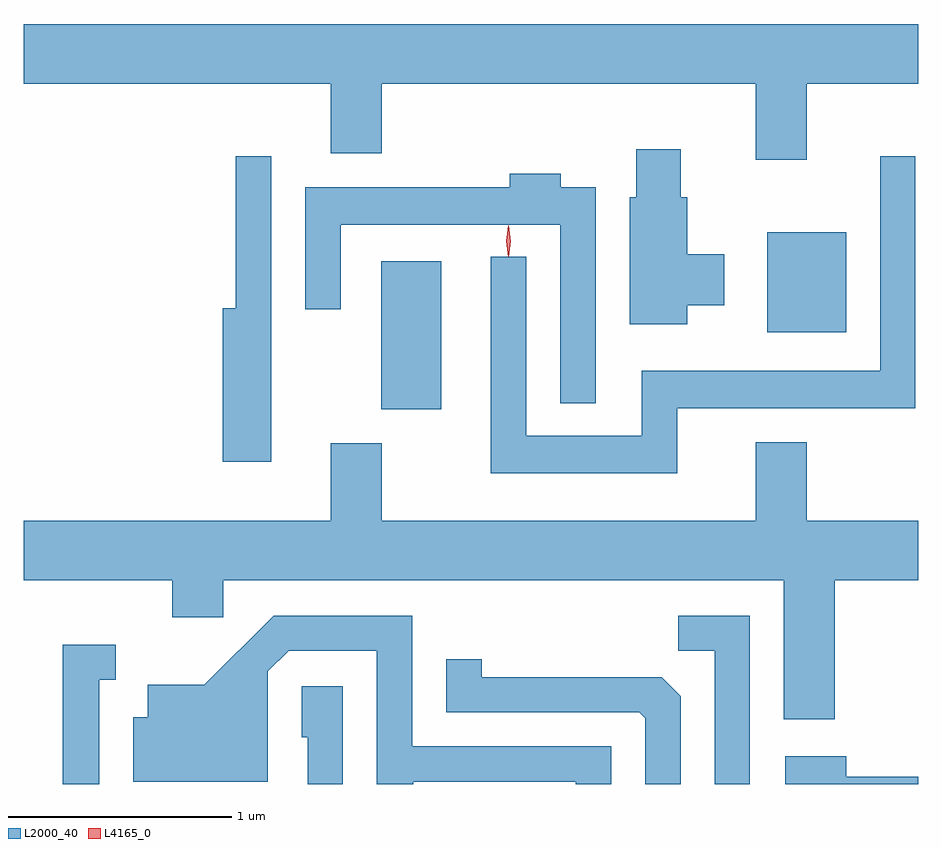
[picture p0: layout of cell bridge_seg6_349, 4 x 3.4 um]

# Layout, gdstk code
import gdstk
lib = gdstk.Library(unit=1e-6, precision=1e-09)
def R(c, l, rs):  # rectangles x0, y0, x1, y1
    for r in rs: c.add(gdstk.rectangle(r[:2], r[2:], *l))
def P(c, l, *ps):  # polygons
    for p in ps: c.add(gdstk.Polygon(p, *l))
L2000_40 = (2000, 40)
L4165_0 = (4165, 0)

bridge_seg6_349 = lib.new_cell('bridge_seg6_349')
R(bridge_seg6_349, L2000_40, [(1330.816,1537.481,1331.084,1538.144), (1332.541,1537.826,1332.894,1538.274)])
P(bridge_seg6_349, L2000_40, [(1332.719,1538.936),(1333.217,1538.936),(1333.217,1539.204),(1329.217,1539.204),(1329.217,1538.936),(1330.591,1538.936),(1330.591,1538.626),(1330.819,1538.626),(1330.819,1538.936),(1332.491,1538.936),(1332.491,1538.596),(1332.719,1538.596)],
  [(1332.184,1537.946),(1332.349,1537.946),(1332.349,1538.174),(1332.184,1538.174),(1332.184,1538.429),(1332.154,1538.429),(1332.154,1538.644),(1331.956,1538.644),(1331.956,1538.429),(1331.926,1538.429),(1331.926,1537.861),(1332.184,1537.861)],
  [(1330.324,1538.613),(1330.166,1538.613),(1330.166,1537.934),(1330.106,1537.934),(1330.106,1537.246),(1330.324,1537.246)],
  [(1332.139,1537.486),(1333.204,1537.486),(1333.204,1538.613),(1333.046,1538.613),(1333.046,1537.654),(1331.981,1537.654),(1331.981,1537.364),(1331.464,1537.364),(1331.464,1538.163),(1331.306,1538.163),(1331.306,1537.196),(1332.139,1537.196)],
  [(1331.774,1538.474),(1331.619,1538.474),(1331.619,1538.534),(1331.391,1538.534),(1331.391,1538.474),(1330.476,1538.474),(1330.476,1537.928),(1330.634,1537.928),(1330.634,1538.306),(1331.616,1538.306),(1331.616,1537.508),(1331.774,1537.508)],
  [(1332.844,1536.716),(1333.217,1536.716),(1333.217,1536.984),(1332.719,1536.984),(1332.719,1537.334),(1332.491,1537.334),(1332.491,1536.984),(1330.819,1536.984),(1330.819,1537.329),(1330.591,1537.329),(1330.591,1536.984),(1329.217,1536.984),(1329.217,1536.716),(1329.881,1536.716),(1329.881,1536.551),(1330.109,1536.551),(1330.109,1536.716),(1332.616,1536.716),(1332.616,1536.096),(1332.844,1536.096)],
  [(1332.464,1536.559),(1332.143,1536.559),(1332.143,1536.401),(1332.306,1536.401),(1332.306,1535.806),(1332.464,1535.806)],
  [(1330.959,1535.816),(1331.686,1535.816),(1331.686,1535.806),(1331.844,1535.806),(1331.844,1535.974),(1330.954,1535.974),(1330.954,1536.559),(1330.334,1536.559),(1330.024,1536.249),(1329.771,1536.249),(1329.771,1536.104),(1329.706,1536.104),(1329.706,1535.816),(1330.309,1535.816),(1330.309,1536.309),(1330.402,1536.401),(1330.796,1536.401),(1330.796,1535.806),(1330.959,1535.806)],
  [(1329.554,1536.271),(1329.628,1536.271),(1329.628,1536.429),(1329.391,1536.429),(1329.391,1535.806),(1329.554,1535.806)],
  [(1332.154,1536.199),(1332.069,1536.284),(1331.264,1536.284),(1331.264,1536.363),(1331.106,1536.363),(1331.106,1536.126),(1331.969,1536.126),(1331.996,1536.099),(1331.996,1535.806),(1332.154,1535.806)],
  [(1330.644,1536.244),(1330.461,1536.244),(1330.461,1536.016),(1330.486,1536.016),(1330.486,1535.806),(1330.644,1535.806)],
  [(1333.217,1535.839),(1332.894,1535.839),(1332.894,1535.929),(1332.621,1535.929),(1332.621,1535.806),(1333.217,1535.806)])
P(bridge_seg6_349, L4165_0, [(1331.384,1538.164),(1331.384,1538.164),(1331.374,1538.233),(1331.384,1538.302),(1331.384,1538.303),(1331.385,1538.302),(1331.394,1538.233),(1331.385,1538.164)],
  [(1331.383,1538.167),(1331.374,1538.234),(1331.383,1538.3),(1331.384,1538.3),(1331.384,1538.3),(1331.394,1538.234),(1331.384,1538.167),(1331.384,1538.167)])

lib.write_gds('bridge_seg6_349.gds')
